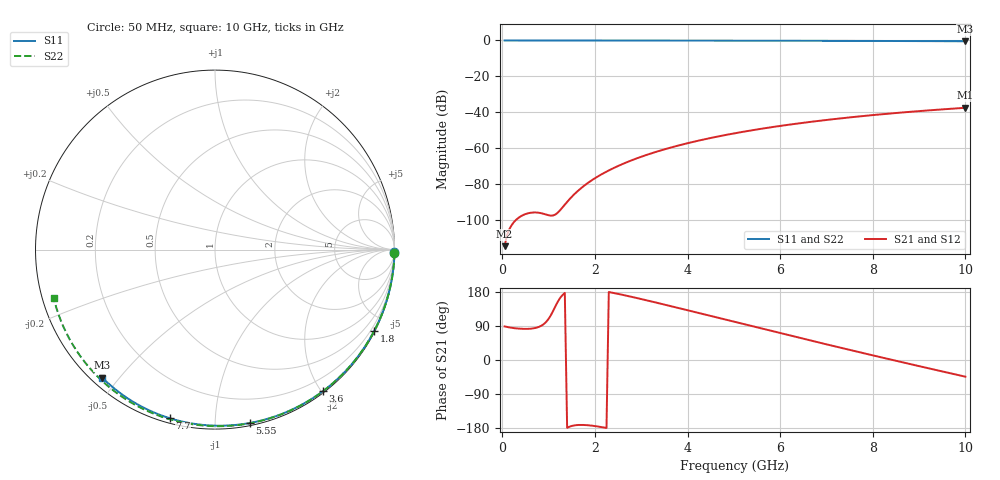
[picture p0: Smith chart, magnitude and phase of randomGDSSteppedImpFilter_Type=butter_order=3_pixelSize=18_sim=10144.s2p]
! freq	dB(S11)	phase(S11)	dB(S12)	phase(S12)
!  dB(S21)	phase(S21)	dB(S22)	phase(S22)
!S-par simulation data
#  GHz  S  DB  R 50
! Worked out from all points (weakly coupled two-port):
!   200 points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, 50 MHz to 10 GHz, reference 50 ohm
!   highest |S21| = -37.44 dB at 10 GHz (marker M1); lowest = -114.4 dB at 50 MHz (marker M2)
!   lowest |S11| = -0.4 dB at 10 GHz (marker M3), VSWR 39.16, Z = 1.54 - j22.6 ohm
!   |S11| at or under -10 dB: nowhere
!   |S22| runs from -0.6 to 0.0 dB; largest |S21 - S12| = 0
!   S11 on the Smith chart (normalised r, x): 50 MHz: open; 1.8 GHz: 0.04, -4.18; 3.6 GHz: 0.02, -2.02; 5.55 GHz: 0.02, -1.22; 7.7 GHz: 0.02, -0.77; 10 GHz: 0.03, -0.45
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0.05  -0.00 -0.8  -114.35 88.6  -114.35 88.6  -0.00 -0.9
0.45  -0.01 -6.8  -97.05 82.2  -97.05 82.2  -0.01 -8.3
0.85  -0.02 -12.8  -96.07 90.9  -96.07 90.9  -0.02 -15.7
1.3  -0.02 -19.5  -92.78 171.4  -92.78 171.4  -0.03 -23.8
1.75  -0.03 -26.2  -81.10 -171.4  -81.10 -171.4  -0.04 -31.9
1.8  -0.03 -26.9  -80.11 -171.7  -80.11 -171.7  -0.04 -32.8
2  -0.04 -29.9  -76.59 -174.3  -76.59 -174.3  -0.05 -36.3
2.15  -0.04 -32.0  -74.30 -177.2  -74.30 -177.2  -0.05 -39.0
2.5  -0.05 -37.1  -69.78 174.5  -69.78 174.5  -0.06 -45.1
2.9  -0.06 -42.8  -65.58 163.7  -65.58 163.7  -0.07 -52.0
3.4  -0.07 -49.9  -61.30 149.2  -61.30 149.2  -0.08 -60.5
3.6  -0.07 -52.7  -59.81 143.3  -59.81 143.3  -0.09 -63.9
4.3  -0.09 -62.2  -55.32 122.3  -55.32 122.3  -0.11 -75.4
5.05  -0.11 -72.2  -51.45 99.6  -51.45 99.6  -0.13 -87.5
5.55  -0.13 -78.6  -49.26 84.5  -49.26 84.5  -0.16 -95.3
6.1  -0.15 -85.6  -47.14 68.0  -47.14 68.0  -0.19 -103.8
6.7  -0.18 -93.0  -45.11 50.2  -45.11 50.2  -0.22 -112.9
7.2  -0.21 -99.1  -43.61 35.5  -43.61 35.5  -0.26 -120.4
7.7  -0.24 -105.0  -42.25 20.9  -42.25 20.9  -0.30 -127.9
8.35  -0.29 -112.6  -40.66 2.2  -40.66 2.2  -0.36 -137.6
9.2  -0.36 -122.3  -38.87 -21.8  -38.87 -21.8  -0.45 -150.6
10  -0.44 -131.4  -37.44 -44.1  -37.44 -44.1  -0.55 -163.2
